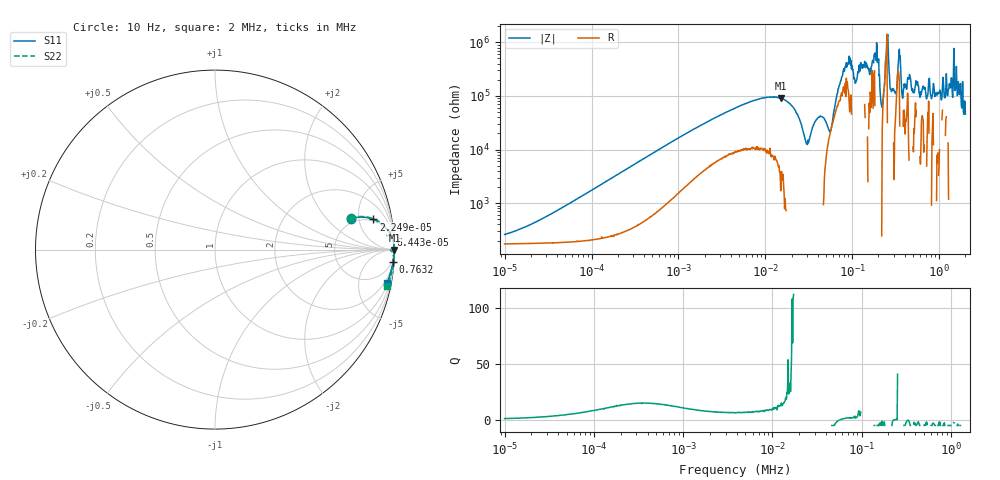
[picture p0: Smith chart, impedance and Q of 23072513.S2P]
!Agilent Technologies,E5061B,MY49204007,A.02.12
!Date: Wed Jul 23 11:20:12 2025
!Data & Calibration Information:
!Freq	S11:SOLT2(ON)	S21:SOLT2(ON)	S12:SOLT2(ON)	S22:SOLT2(ON)
# Hz S dB R 50
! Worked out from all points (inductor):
!   1040 points, 10 Hz to 2 MHz, reference 50 ohm
!   read as one part in series: L = 2.78 H near 30.88 Hz
!   highest Q = 27 at 15.19 kHz (marker M1), where L = 941 mH
!   self-resonance near 30.22 kHz
!   S11 on the Smith chart (normalised r, x): 10 Hz: 4.48, +3.85; 22.49 Hz: 4.58, +8.00; 64.43 Hz: 5, +22; 763.2 kHz: 2, -28; 2 MHz: 1, -10
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10  -2.21 12.8  -10.48 -35.3  -10.47 -35.2  -2.20 13.0
22.49  -0.93 10.8  -13.75 -55.3  -13.75 -55.2  -0.91 11.0
64.428  -0.16 4.9  -21.23 -75.3  -21.24 -75.2  -0.15 5.1
77.209  -0.12 4.1  -22.70 -77.4  -22.71 -77.3  -0.10 4.3
588.818  -0.01 0.6  -39.91 -85.2  -39.92 -85.1  0.01 0.8
4498.482  -0.01 0.1  -55.48 -81.2  -55.49 -81.1  0.01 0.2
15189  -0.00 -0.1  -59.07 -87.8  -59.08 -87.6  0.01 -0.0
29910.04  -0.03 -0.2  -42.12 -170.1  -42.13 -170.1  -0.19 -0.2
34305.13  -0.01 -0.2  -47.52 119.8  -47.58 120.0  -0.04 0.5
55893.47  -0.04 -0.3  -46.73 15.7  -46.75 16.0  -0.03 -0.1
87655.29  -0.01 -0.5  -72.20 -63.7  -72.62 -75.0  0.01 -0.3
108916.2  -0.05 -0.6  -64.99 178.9  -65.31 176.9  0.01 -0.4
188401.2  -0.02 -1.0  -73.22 91.8  -77.48 97.4  0.01 -0.9
220895.6  -0.02 -1.1  -55.76 66.2  -55.82 63.9  -0.02 -1.1
247285.5  -0.01 -1.3  -76.55 -30.6  -76.14 7.7  -0.00 -1.2
261946.5  -0.02 -1.4  -73.36 -164.2  -72.40 -167.0  -0.00 -1.2
294710.7  -0.01 -1.5  -62.08 94.0  -62.41 89.7  0.00 -1.5
347350.3  -0.01 -1.8  -77.45 73.6  -78.91 78.6  -0.01 -1.9
387842.4  -0.02 -2.0  -62.45 64.1  -61.83 64.1  -0.04 -1.8
763241.4  -0.05 -4.1  -66.52 80.1  -65.87 80.9  0.01 -4.6
1554576  -0.15 -8.4  -64.01 111.1  -63.94 121.6  -0.09 -9.1
2000000  -0.21 -11.0  -53.51 -121.7  -53.19 -121.4  -0.19 -11.9
